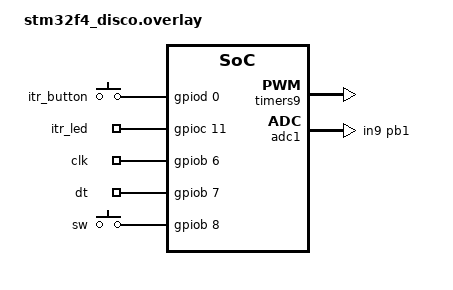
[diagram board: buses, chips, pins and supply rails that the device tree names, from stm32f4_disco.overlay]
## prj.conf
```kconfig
CONFIG_GPIO=y
CONFIG_PWM=y
CONFIG_TRACING=y
CONFIG_SEGGER_SYSTEMVIEW=y
```

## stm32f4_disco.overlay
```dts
/ {
    
    interrupts {
        compatible = "gpio-keys";
        itr_button: pd0 {
			gpios = <&gpiod 0 GPIO_ACTIVE_HIGH>;
		};
        itr_led: pc11 {
			gpios = <&gpioc 11 GPIO_ACTIVE_HIGH>;
		};
    };


    stepper {
        compatible = "gpio-keys";
        clk: pb6 {
            gpios = <&gpiob 6 GPIO_ACTIVE_HIGH>;
        };
        dt: pb7 {
            gpios = <&gpiob 7 GPIO_ACTIVE_HIGH>;
        };
        sw: pb8 {
            gpios = <&gpiob 8 GPIO_ACTIVE_HIGH>;
        };
    };

};

&timers9 {
    status = "okay";
    st,prescaler = <40000>;
    servo: pwm {
        status = "okay";
        pinctrl-0 = <&tim9_ch1_pe5>;
        pinctrl-names = "default";
    };
};

poti: &adc1 {
    status = "okay";
    pinctrl-0 = <&adc1_in9_pb1>;
    pinctrl-names = "default";
};
```

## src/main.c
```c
/*
 * Copyright (c) 2017 Linaro Limited
 *
 * SPDX-License-Identifier: Apache-2.0
 */

#include "../include/setup.h"

void t_button(void){
	while(1){
		if(button_pressed){
			gpio_pin_toggle_dt(&itr_led_spec);
			k_msleep(150);
			button_pressed = 0;
		}
		k_msleep(50);
	}
}

void t_servo(void){
	while(1){
		pwm_set(pwm_servo, 1, PWM_USEC(20000), PWM_USEC(pwm_pulse), PWM_POLARITY_NORMAL);
		k_msleep(50);
	}
}

K_THREAD_DEFINE(t0, 1024, t_button, NULL, NULL, NULL, -7, 0, 0);
K_THREAD_DEFINE(t1, 1024, t_servo, NULL, NULL, NULL, -7, 0, 0);


void main(void){
	setup();
}
```

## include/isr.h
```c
void isr_toggle_pin(void);
void isr_rotary_encoder(void);
```

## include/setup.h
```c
#include <zephyr/kernel.h>
#include <zephyr/device.h>
#include <zephyr/drivers/gpio.h>
#include <zephyr/drivers/pwm.h>
#include <zephyr/devicetree.h>
#include "isr.h"

// GPIO specs
extern const struct gpio_dt_spec clk_spec;
extern const struct gpio_dt_spec dt_spec;
extern const struct gpio_dt_spec sw_spec;
extern const struct gpio_dt_spec itr_button_spec;
extern const struct gpio_dt_spec itr_led_spec;

// Devices
extern const struct device* pwm_servo;

// Interrupt callback data
extern struct gpio_callback cb_data;
extern struct gpio_callback cb_data2;

// Basic Variables
extern uint8_t button_pressed;
extern gpio_pin_t clk_last; 
extern gpio_pin_t clk;
extern gpio_pin_t dt;
extern uint16_t pwm_pulse;

// Setup function
void setup(void);
```

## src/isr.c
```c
#include "../include/isr.h"
#include "../include/setup.h"

// Button
void isr_toggle_pin(void){
    button_pressed = 1;
}

// Rotary Encoder
void isr_rotary_encoder(void){
	clk = gpio_pin_get_raw(clk_spec.port, clk_spec.pin); 
	dt = gpio_pin_get_raw(dt_spec.port, dt_spec.pin);
	if(clk != clk_last){
		if(dt != clk){			
			if(pwm_pulse < 2400){
				pwm_pulse+=100;
			}
		}
		else{
			if(pwm_pulse > 600){
				pwm_pulse-=100;
			}
		}
	}
	clk_last = clk;
}
```

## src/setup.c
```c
#include "../include/setup.h"

const struct gpio_dt_spec clk_spec = GPIO_DT_SPEC_GET(DT_NODELABEL(clk), gpios);
const struct gpio_dt_spec dt_spec = GPIO_DT_SPEC_GET(DT_NODELABEL(dt), gpios);
const struct gpio_dt_spec sw_spec = GPIO_DT_SPEC_GET(DT_NODELABEL(sw), gpios);
const struct gpio_dt_spec itr_button_spec = GPIO_DT_SPEC_GET(DT_NODELABEL(itr_button), gpios);
const struct gpio_dt_spec itr_led_spec = GPIO_DT_SPEC_GET(DT_NODELABEL(itr_led), gpios);

const struct device* pwm_servo = DEVICE_DT_GET(DT_NODELABEL(servo));

// Interrupt callback data
struct gpio_callback cb_data;
struct gpio_callback cb_data2;

// Basic Variables
uint8_t button_pressed = 0;
gpio_pin_t clk_last; 
gpio_pin_t clk;
gpio_pin_t dt;
uint16_t pwm_pulse = 2400;

void setup(void){

    gpio_pin_configure_dt(&clk_spec, GPIO_INPUT);
    gpio_pin_configure_dt(&dt_spec, GPIO_INPUT);
    gpio_pin_configure_dt(&sw_spec, GPIO_INPUT);
    gpio_pin_configure_dt(&itr_led_spec, GPIO_OUTPUT_ACTIVE);
    gpio_pin_configure_dt(&itr_button_spec, GPIO_INPUT);

	gpio_pin_interrupt_configure_dt(&itr_button_spec, GPIO_INT_EDGE_TO_ACTIVE);
    gpio_init_callback(&cb_data, (gpio_callback_handler_t)isr_toggle_pin, BIT(itr_button_spec.pin));
	gpio_add_callback(itr_button_spec.port, &cb_data);

	gpio_pin_interrupt_configure_dt(&clk_spec, GPIO_INT_EDGE_BOTH);
    gpio_init_callback(&cb_data2, (gpio_callback_handler_t)isr_rotary_encoder, BIT(clk_spec.pin));
	gpio_add_callback(clk_spec.port, &cb_data2);
    
	clk_last = gpio_pin_get_raw(clk_spec.port, clk_spec.pin); 
}
```
